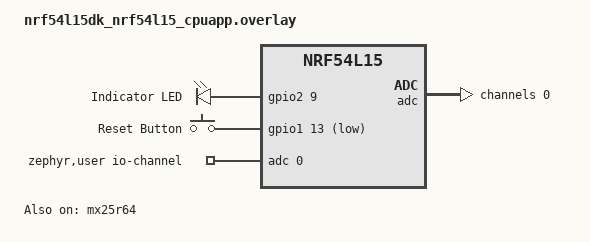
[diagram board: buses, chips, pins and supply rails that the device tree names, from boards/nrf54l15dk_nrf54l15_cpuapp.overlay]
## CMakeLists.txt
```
#
# Copyright (c) 2021 Nordic Semiconductor ASA
#
# SPDX-License-Identifier: LicenseRef-Nordic-5-Clause
#

cmake_minimum_required(VERSION 3.20.0)

find_package(Zephyr HINTS $ENV{ZEPHYR_BASE})

project(battery-test)

# Enable GNU STD support.
include(${ZEPHYR_CONNECTEDHOMEIP_MODULE_DIR}/config/nrfconnect/app/enable-gnu-std.cmake)

# NORDIC SDK APP START

include(cmake/source_common.cmake)
include(cmake/data_model.cmake)
include(cmake/zap_helpers.cmake)
ncs_get_zap_parent_dir(ZAP_PARENT_DIR)

target_include_directories(app PRIVATE
    src
    ${ZAP_PARENT_DIR}
)

target_sources(app PRIVATE
    src/app_task.cpp
    src/battery.cpp
    src/main.cpp
)

ncs_configure_data_model()
# NORDIC SDK APP END
```

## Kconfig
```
#
# Copyright (c) 2022 Nordic Semiconductor
#
# SPDX-License-Identifier: LicenseRef-Nordic-5-Clause
#
mainmenu "Matter Battery Measurement Test Application"

# Sample configuration used for Thread networking
if OPENTHREAD

choice OPENTHREAD_NORDIC_LIBRARY_CONFIGURATION
	default OPENTHREAD_NORDIC_LIBRARY_MTD
endchoice

choice OPENTHREAD_DEVICE_TYPE
	default OPENTHREAD_MTD
endchoice

endif # OPENTHREAD

source "${ZEPHYR_CONNECTEDHOMEIP_MODULE_DIR}/config/nrfconnect/chip-module/Kconfig.features"
source "${ZEPHYR_CONNECTEDHOMEIP_MODULE_DIR}/config/nrfconnect/chip-module/Kconfig.defaults"
source "${ZEPHYR_NRF_MODULE_DIR}/samples/matter/common/src/Kconfig"
source "Kconfig.zephyr"
```

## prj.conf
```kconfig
#
# Copyright (c) 2021 Nordic Semiconductor ASA
#
# SPDX-License-Identifier: LicenseRef-Nordic-5-Clause
#

# There is only one data model in this application, so the ZAP path lives here
# rather than in a variant conf file - no EXTRA_CONF_FILE is needed to build.
CONFIG_NCS_SAMPLE_MATTER_ZAP_FILE_PATH="${APPLICATION_CONFIG_DIR}/src/zap/template.zap"

# Enable CHIP
CONFIG_CHIP=y
CONFIG_CHIP_PROJECT_CONFIG="src/chip_project_config.h"

# 32768 == 0x8000 (example Product ID added temporaly,
# but it must be changed with proper PID from the list:
# https://github.com/project-chip/connectedhomeip/blob/482e6fd03196a6de45465a90003947ef4b86e0b1/docs/examples/discussion/PID_allocation_for_example_apps.md)
CONFIG_CHIP_DEVICE_PRODUCT_ID=32768
CONFIG_STD_CPP17=y

# Enable Matter pairing automatically on application start.
CONFIG_CHIP_ENABLE_PAIRING_AUTOSTART=y

# Enable Matter extended announcement and increase duration to 1 hour.
CONFIG_CHIP_BLE_EXT_ADVERTISING=y
CONFIG_CHIP_BLE_ADVERTISING_DURATION=60

# The custom board has a single LED and a single button wired directly, so the
# DK buttons/LEDs library is not used - see ConfigureGPIO() in app_task.cpp.
CONFIG_DK_LIBRARY=n

# Bluetooth Low Energy configuration
CONFIG_BT_DEVICE_NAME="BattTest"

# Other settings
CONFIG_THREAD_NAME=y
CONFIG_MPU_STACK_GUARD=y
CONFIG_RESET_ON_FATAL_ERROR=n
CONFIG_CHIP_LIB_SHELL=y
CONFIG_NCS_SAMPLE_MATTER_TEST_SHELL=y

# Disable NFC onboarding
CONFIG_CHIP_NFC_ONBOARDING_PAYLOAD=n

# Enable Factory Data feature
CONFIG_CHIP_FACTORY_DATA=y
CONFIG_CHIP_FACTORY_DATA_BUILD=y

CONFIG_GPIO=y
CONFIG_ADC=y

CONFIG_USE_SEGGER_RTT=y
CONFIG_LOG_MODE_MINIMAL=n
CONFIG_LOG_MODE_IMMEDIATE=y
CONFIG_LOG_BACKEND_RTT=y

CONFIG_CHIP_PERSISTENT_SUBSCRIPTIONS=n

CONFIG_CLOCK_CONTROL_NRF_K32SRC_XTAL=y
CONFIG_CLOCK_CONTROL_NRF_K32SRC_RC=n

CONFIG_BT_RX_STACK_SIZE=2048

CONFIG_OPENTHREAD_DEFAULT_TX_POWER=20

# Enabling low power
CONFIG_PM_DEVICE=y

# Switch Minimal Thread Device on
CONFIG_OPENTHREAD_NORDIC_LIBRARY_MTD=y
CONFIG_OPENTHREAD_MTD=y
CONFIG_OPENTHREAD_FTD=n

# Set Matter as Intermittant Connected Device. LIT selects CHIP_ICD_UAT_SUPPORT,
# which is what gates the UserActiveMode button handling in app_task.cpp.
CONFIG_CHIP_ENABLE_ICD_SUPPORT=y
CONFIG_CHIP_ICD_LIT_SUPPORT=y
CONFIG_CHIP_ICD_REPORT_ON_ACTIVE_MODE=y

# More power saving.
CONFIG_RAM_POWER_DOWN_LIBRARY=y
```

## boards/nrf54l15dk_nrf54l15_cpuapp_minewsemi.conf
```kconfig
#
# Copyright (c) 2024 Nordic Semiconductor ASA
#
# SPDX-License-Identifier: LicenseRef-Nordic-5-Clause
#

CONFIG_POWEROFF=y

CONFIG_NCS_SAMPLE_MATTER_WATCHDOG=n

# Enable LTO to decrease the flash usage.
CONFIG_LTO=y
CONFIG_ISR_TABLES_LOCAL_DECLARATION=y

# The ME54BS01 exposes no UART, and the overlay disables every UART instance,
# so the console moves to RTT.
CONFIG_SERIAL=n
CONFIG_UART_CONSOLE=n
CONFIG_RTT_CONSOLE=y

# No shell on this board. Its only backend would be RTT, which already carries
# the log - the two cannot share a channel - and the log is the bench readout.
CONFIG_SHELL=n
CONFIG_CHIP_LIB_SHELL=n
CONFIG_NCS_SAMPLE_MATTER_TEST_SHELL=n
```

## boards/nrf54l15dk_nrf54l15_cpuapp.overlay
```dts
/*
 * Copyright (c) 2024 Nordic Semiconductor ASA
 *
 * SPDX-License-Identifier: LicenseRef-Nordic-5-Clause
 */

/ {
	leds {
		compatible = "gpio-leds";
		led0: led_0 {
			gpios = <&gpio2 9 GPIO_ACTIVE_HIGH>;
			label = "Indicator LED";
		};
	};

	buttons {
		compatible = "gpio-keys";
		button0: button_0 {
			gpios = <&gpio1 13 (GPIO_PULL_UP | GPIO_ACTIVE_LOW)>;
			label = "Reset Button";
		};
	};

	aliases {
		indicator-led = &led0;
		reset-button = &button0;
	};

	chosen {
		nordic,pm-ext-flash = &mx25r64;
	};

	zephyr,user {
		io-channels = <&adc 0>;
	};
};

/* sense-edge-mask is what lets the P1.13 edge interrupt fire out of the low
 * power states. The minewsemi overlay has always had it; without it here the
 * button behaves differently on the DK than on the custom board.
 */
&gpio1 {
	status = "okay";
	sense-edge-mask = <0xffffffff>;
};

&adc {
	#address-cells = <1>;
	#size-cells = <0>;
	status = "okay";

	/* Supply voltage via the SAADC internal VDD input. On the DK this reads
	 * whatever the board's VDD selector is set to rather than a cell, which
	 * is what makes it useful for sweeping the thresholds on the bench.
	 *
	 * Internal reference is 900 mV, so gain 1/4 puts full scale at 3.6 V.
	 * nRF54L15 has no 1/6 gain, so ADC_GAIN_1_6 would fail with -EINVAL.
	 */
	channel@0 {
		reg = <0>;
		zephyr,gain = "ADC_GAIN_1_4";
		zephyr,reference = "ADC_REF_INTERNAL";
		zephyr,acquisition-time = <ADC_ACQ_TIME_DEFAULT>;
		zephyr,input-positive = <NRF_SAADC_VDD>;
		zephyr,resolution = <12>;
		zephyr,oversampling = <8>;
	};
};

// restore full RRAM and SRAM space - by default some parts are dedicated to FLRP
&cpuapp_rram {
	reg = <0x0 DT_SIZE_K(1524)>;
};

&cpuapp_sram {
	reg = <0x20000000 DT_SIZE_K(256)>;
	ranges = <0x0 0x20000000  0x40000>;
};

/* The DK keeps the MCUboot secondary slot in external flash, per
 * pm_static_nrf54l15dk_nrf54l15_cpuapp.yml.
 */
&mx25r64 {
	status = "okay";
};
```

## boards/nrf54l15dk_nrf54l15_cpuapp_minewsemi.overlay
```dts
/*
 * Copyright (c) 2024 Nordic Semiconductor ASA
 *
 * SPDX-License-Identifier: LicenseRef-Nordic-5-Clause
 */

/ {
	leds {
		compatible = "gpio-leds";
		led0: led_0 {
			gpios = <&gpio2 10 (GPIO_PULL_DOWN | GPIO_ACTIVE_HIGH)>;
			label = "Indicator LED";
		};
	};

	buttons {
		compatible = "gpio-keys";
		button0: button_0 {
			gpios = <&gpio1 13 (GPIO_PULL_DOWN | GPIO_ACTIVE_HIGH)>;
			label = "Reset Button";
		};
	};

	aliases {
		indicator-led = &led0;
		reset-button = &button0;
	};

	zephyr,user {
		io-channels = <&adc 0>;
	};
};

&gpio1 {
	status = "okay";
	sense-edge-mask = <0xffffffff>;
};

&adc {
	#address-cells = <1>;
	#size-cells = <0>;
	status = "okay";

	/* Battery voltage. The coin cell drives VDD directly - there is no LDO
	 * and no divider on this board - so the SAADC internal VDD input gives
	 * the cell voltage with no extra hardware and no quiescent draw.
	 *
	 * The nRF54L internal reference is 900 mV, so gain 1/4 puts full scale
	 * at 3.6 V. Note nRF54L15 has no 1/6 gain (only 2, 1, 2/3, 2/4, 2/5,
	 * 2/6, 2/7, 2/8), so ADC_GAIN_1_6 would fail channel setup with -EINVAL.
	 */
	channel@0 {
		reg = <0>;
		zephyr,gain = "ADC_GAIN_1_4";
		zephyr,reference = "ADC_REF_INTERNAL";
		zephyr,acquisition-time = <ADC_ACQ_TIME_DEFAULT>;
		zephyr,input-positive = <NRF_SAADC_VDD>;
		zephyr,resolution = <12>;
		zephyr,oversampling = <8>;
	};
};

// restore full RRAM and SRAM space - by default some parts are dedicated to FLRP
&cpuapp_rram {
	reg = <0x0 DT_SIZE_K(1524)>;
};

&cpuapp_sram {
	reg = <0x20000000 DT_SIZE_K(256)>;
	ranges = <0x0 0x20000000  0x40000>;
};

/* Disable unused communication peripherals */
&i2c20 {
	status = "disabled";
};

&i2c21 {
	status = "disabled";
};

&i2c22 {
	status = "disabled";
};

&spi20 {
	status = "disabled";
};

&spi21 {
	status = "disabled";
};

&spi22 {
	status = "disabled";
};

&uart20 {
	status = "disabled";
};

&uart21 {
	status = "disabled";
};

&uart22 {
	status = "disabled";
};

&uart30 {
	status = "disabled";
};

&mx25r64 {
	status = "disabled";
};

/* Disable audio/sensor peripherals if not used */
&pdm20 {
	status = "disabled";
};

&pdm21 {
	status = "disabled";
};

&i2s20 {
	status = "disabled";
};

/* Disable quadrature decoder if not used */
&qdec20 {
	status = "disabled";
};

&qdec21 {
	status = "disabled";
};

&pwm20 {
	status = "disabled";
};

&pwm21 {
	status = "disabled";
};

&pwm22 {
	status = "disabled";
};

&wdt31 {
	status = "disabled";
};

/* Disable NFC if not used */
&nfct {
	status = "disabled";
};
```

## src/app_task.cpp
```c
/*
 * Copyright (c) 2021 Nordic Semiconductor ASA
 *
 * SPDX-License-Identifier: LicenseRef-Nordic-5-Clause
 */

#include "app_task.h"

#include "app/matter_init.h"
#include "app/task_executor.h"
#include "lib/core/CHIPError.h"
#include "lib/support/CodeUtils.h"

#include <setup_payload/OnboardingCodesUtil.h>

#include <zephyr/logging/log.h>

#include <zephyr/device.h>
#include <zephyr/devicetree.h>
#include <zephyr/drivers/gpio.h>

#include "battery.h"

#include <app-common/zap-generated/attributes/Accessors.h>
#include <app-common/zap-generated/callback.h>
#include <app/clusters/identify-server/identify-server.h>
#include <app/clusters/power-source-server/power-source-server.h>

LOG_MODULE_DECLARE(app, CONFIG_CHIP_APP_LOG_LEVEL);

using namespace ::chip;
using namespace ::chip::app;
using namespace ::chip::DeviceLayer;

namespace
{
k_timer sIndicatorTimer;
k_timer sBatteryTimer;
k_timer sFactoryResetTimer;
bool sIndicatorState;

bool sIsNetworkProvisioned;
bool sIsBleConnected;

#define BATTERY_READ_INTERVAL 5000
#define FACTORY_RESET_HOLD_SECONDS 10

/* CR2032 operating window. The nRF54L15 itself runs well below 2.0 V, but a
 * coin cell's usable capacity is gone by then, so that is where 0% sits.
 */
constexpr uint16_t kMinOperatingVoltageMv = 2000;
constexpr uint16_t kMaxOperatingVoltageMv = 3000;
constexpr uint16_t kWarningVoltageMv = 2400;
constexpr uint16_t kCriticalVoltageMv = 2200;

/* Matter reports BatPercentRemaining in half-percent units, so 200 == 100%. */
constexpr uint8_t kMaxBatteryPercentage = 200;

constexpr EndpointId kPowerSourceEndpointId = 0;

#define INDICATOR_LED_NODE DT_ALIAS(indicator_led)
#define RESET_BUTTON_NODE DT_ALIAS(reset_button)

const struct gpio_dt_spec sIndicatorLed = GPIO_DT_SPEC_GET(INDICATOR_LED_NODE, gpios);
const struct gpio_dt_spec sResetButton = GPIO_DT_SPEC_GET(RESET_BUTTON_NODE, gpios);

Identify sIdentify = {kPowerSourceEndpointId, AppTask::IdentifyStartHandler,
		      AppTask::IdentifyStopHandler,
		      Clusters::Identify::IdentifyTypeEnum::kVisibleIndicator};
} /* namespace */

/// @brief This function is called when an identify start command is received. It will rapidly blink the indicator LED.
/// @param
void AppTask::IdentifyStartHandler(Identify *)
{
	k_timer_stop(&sIndicatorTimer);
	k_timer_start(&sIndicatorTimer, K_MSEC(500), K_MSEC(500));
}

/// @brief This function is called when an identify stop command is received. It will restore the connectivity indication.
/// @param
void AppTask::IdentifyStopHandler(Identify *)
{
	UpdateIndicatorLed();
}

/// @brief This callback is called when the battery timer expires. It will post a task to read the battery voltage.
/// @param timer
void AppTask::BatteryTimerCallback(k_timer *timer)
{
	Nrf::PostTask([] { AppTask::BatteryMeasureHandler(); });
}

void AppTask::IndicatorTimerCallback(k_timer *timer)
{
	sIndicatorState = !sIndicatorState;

	gpio_pin_set_dt(&sIndicatorLed, sIndicatorState);
}

void AppTask::FactoryResetTimerCallback(k_timer *timer)
{
	k_timer_stop(&sIndicatorTimer);
	gpio_pin_set_dt(&sIndicatorLed, 0);

	/* Timer callbacks run in interrupt context, so hand the reset itself to
	 * the app task.
	 */
	Nrf::PostTask([] {
		LOG_INF("Factory Reset Triggered!");
		chip::Server::GetInstance().ScheduleFactoryReset();
	});
}

void AppTask::UpdateIndicatorLed()
{
	k_timer_stop(&sIndicatorTimer);

	if (sIsNetworkProvisioned) {
		/* Provisioned and idle - the LED stays dark so the battery
		 * reading is not skewed by the LED current.
		 */
		gpio_pin_set_dt(&sIndicatorLed, 0);
	} else if (sIsBleConnected) {
		k_timer_start(&sIndicatorTimer, K_MSEC(200), K_MSEC(200));
	} else {
		k_timer_start(&sIndicatorTimer, K_MSEC(1000), K_MSEC(1000));
	}
}

void AppTask::MatterEventHandler(const ChipDeviceEvent *event, intptr_t data)
{
	switch (event->Type) {
	case DeviceEventType::kCHIPoBLEAdvertisingChange:
		sIsBleConnected = ConnectivityMgr().NumBLEConnections() != 0;
		break;
	case DeviceEventType::kThreadStateChange:
		sIsNetworkProvisioned = ConnectivityMgrImpl().IsIPv6NetworkProvisioned() &&
					ConnectivityMgrImpl().IsIPv6NetworkEnabled();
		break;
	default:
		break;
	}

	if (sIsNetworkProvisioned) {
		LOG_INF("Network is provisioned!");
	} else if (sIsBleConnected) {
		LOG_INF("Bluetooth connection opened");
	} else if (ConnectivityMgr().IsBLEAdvertising()) {
		LOG_INF("Bluetooth is advertising");
	} else {
		LOG_INF("Bluetooth is disconnected");
	}

	UpdateIndicatorLed();
}

CHIP_ERROR AppTask::Init()
{
	LOG_INF("Init()");

	ReturnErrorOnFailure(Nrf::Matter::PrepareServer());

	k_timer_init(&sIndicatorTimer, &IndicatorTimerCallback, nullptr);
	k_timer_user_data_set(&sIndicatorTimer, this);

	ReturnErrorOnFailure(Nrf::Matter::RegisterEventHandler(AppTask::MatterEventHandler, 0));

	ConfigureGPIO();

	if (BatteryMeasurementInit() < 0) {
		return CHIP_ERROR_INCORRECT_STATE;
	}

	/* Turn on the indicator LED to start with.
	 * Gives an indication that the device is alive!
	 */
	gpio_pin_set_dt(&sIndicatorLed, 1);

	k_sleep(K_SECONDS(1));

	gpio_pin_set_dt(&sIndicatorLed, 0);

	k_timer_init(&sBatteryTimer, &BatteryTimerCallback, nullptr);
	k_timer_user_data_set(&sBatteryTimer, this);

	k_timer_init(&sFactoryResetTimer, &FactoryResetTimerCallback, nullptr);
	k_timer_user_data_set(&sFactoryResetTimer, this);

	return Nrf::Matter::StartServer();
}

CHIP_ERROR AppTask::StartApp()
{
	ReturnErrorOnFailure(Init());

	/* Started here rather than in Init() so the first measurement cannot land
	 * before StartServer() has finished bringing the cluster up. Measuring
	 * from boot rather than from provisioning is what makes this useful on
	 * the bench - the readings do not wait for a controller.
	 */
	k_timer_start(&sBatteryTimer, K_MSEC(1000), K_MSEC(BATTERY_READ_INTERVAL));

	while (true) {
		Nrf::DispatchNextTask();
	}

	return CHIP_NO_ERROR;
}

void AppTask::ResetButtonCallback(const struct device *dev, struct gpio_callback *cb,
				  gpio_port_pins_t pins)
{
	/* The pin is configured from the devicetree flags alone, so a logical 1
	 * means pressed on both the active-high custom board and the active-low DK.
	 */
	if (gpio_pin_get_dt(&sResetButton) == 1) {
		LOG_INF("Reset Button Pushed");

		k_timer_stop(&sIndicatorTimer);
		gpio_pin_set_dt(&sIndicatorLed, 1);

#ifdef CONFIG_CHIP_ICD_UAT_SUPPORT
		/* This runs in the GPIO ISR, and taking the CHIP stack lock from
		 * an ISR is not allowed, so hand the notification to the app task.
		 */
		Nrf::PostTask([] {
			LOG_INF("ICD UserActiveMode is enabled. Moving to ActiveMode...");

			chip::DeviceLayer::PlatformMgr().LockChipStack();
			Server::GetInstance().GetICDManager().OnNetworkActivity();
			chip::DeviceLayer::PlatformMgr().UnlockChipStack();

			LOG_INF("Successfully triggered ICD UserActiveMode!");
		});
#endif

		k_timer_start(&sFactoryResetTimer, K_SECONDS(FACTORY_RESET_HOLD_SECONDS), K_NO_WAIT);
	} else {
		LOG_INF("Reset Button Released");

		k_timer_stop(&sFactoryResetTimer);
		UpdateIndicatorLed();
	}
}

void AppTask::ConfigureGPIO()
{
	if (!gpio_is_ready_dt(&sIndicatorLed)) {
		LOG_ERR("Cannot configure indicator LED");
		return;
	}

	int err = gpio_pin_configure_dt(&sIndicatorLed, GPIO_OUTPUT_INACTIVE);
	if (err != 0) {
		LOG_ERR("Configuring indicator pin failed (err: %d)", err);
		return;
	}

	LOG_INF("Successfully configured indicator LED");

	if (!gpio_is_ready_dt(&sResetButton)) {
		LOG_ERR("Reset button is not ready");
		return;
	}

	/* No polarity flags here - the pull and active level come from the
	 * devicetree, which differs between the DK and the custom board.
	 */
	err = gpio_pin_configure_dt(&sResetButton, GPIO_INPUT);

	if (err != 0) {
		LOG_ERR("Configuring reset button failed (err: %d)", err);
		return;
	}

	/* Both edges, so that the release is seen and the factory reset timer
	 * can be cancelled.
	 */
	err = gpio_pin_interrupt_configure_dt(&sResetButton, GPIO_INT_EDGE_BOTH);

	if (err != 0) {
		LOG_ERR("Configuring reset button interrupt failed (err: %d)", err);
		return;
	}

	static struct gpio_callback reset_button_cb_data;

	gpio_init_callback(&reset_button_cb_data, AppTask::ResetButtonCallback, BIT(sResetButton.pin));

	err = gpio_add_callback(sResetButton.port, &reset_button_cb_data);

	if (err != 0) {
		LOG_ERR("Adding callback to reset button failed (err: %d)", err);
		return;
	}

	LOG_INF("Successfully configured reset button");
}

void AppTask::BatteryMeasureHandler()
{
	int32_t voltageMv = BatteryMeasurementReadVoltageMv();

	if (voltageMv < 0) {
		LOG_ERR("Battery measurement failed (%" PRId32 ")", voltageMv);

		Clusters::PowerSource::Attributes::Status::Set(
			kPowerSourceEndpointId,
			Clusters::PowerSource::PowerSourceStatusEnum::kUnavailable);
		Clusters::PowerSource::Attributes::BatPresent::Set(kPowerSourceEndpointId, false);
		return;
	}

	uint8_t percentage;

	if (voltageMv <= kMinOperatingVoltageMv) {
		percentage = 0;
	} else if (voltageMv >= kMaxOperatingVoltageMv) {
		percentage = kMaxBatteryPercentage;
	} else {
		percentage = static_cast<uint8_t>(kMaxBatteryPercentage *
						  (voltageMv - kMinOperatingVoltageMv) /
						  (kMaxOperatingVoltageMv - kMinOperatingVoltageMv));
	}

	Clusters::PowerSource::BatChargeLevelEnum chargeLevel;

	if (voltageMv < kCriticalVoltageMv) {
		chargeLevel = Clusters::PowerSource::BatChargeLevelEnum::kCritical;
	} else if (voltageMv < kWarningVoltageMv) {
		chargeLevel = Clusters::PowerSource::BatChargeLevelEnum::kWarning;
	} else {
		chargeLevel = Clusters::PowerSource::BatChargeLevelEnum::kOk;
	}

	LOG_INF("Battery: %" PRId32 " mV, %u%% (level %u)", voltageMv, percentage / 2,
		static_cast<uint8_t>(chargeLevel));

	Protocols::InteractionModel::Status status;

	status = Clusters::PowerSource::Attributes::Status::Set(
		kPowerSourceEndpointId, Clusters::PowerSource::PowerSourceStatusEnum::kActive);
	if (status != Protocols::InteractionModel::Status::Success) {
		LOG_ERR("Updating PowerSource Status failed %x", to_underlying(status));
	}

	status = Clusters::PowerSource::Attributes::BatPresent::Set(kPowerSourceEndpointId, true);
	if (status != Protocols::InteractionModel::Status::Success) {
		LOG_ERR("Updating PowerSource BatPresent failed %x", to_underlying(status));
	}

	status = Clusters::PowerSource::Attributes::BatVoltage::Set(kPowerSourceEndpointId,
								   static_cast<uint32_t>(voltageMv));
	if (status != Protocols::InteractionModel::Status::Success) {
		LOG_ERR("Updating PowerSource BatVoltage failed %x", to_underlying(status));
	}

	status = Clusters::PowerSource::Attributes::BatPercentRemaining::Set(kPowerSourceEndpointId,
									    percentage);
	if (status != Protocols::InteractionModel::Status::Success) {
		LOG_ERR("Updating PowerSource BatPercentRemaining failed %x", to_underlying(status));
	}

	status = Clusters::PowerSource::Attributes::BatChargeLevel::Set(kPowerSourceEndpointId,
								       chargeLevel);
	if (status != Protocols::InteractionModel::Status::Success) {
		LOG_ERR("Updating PowerSource BatChargeLevel failed %x", to_underlying(status));
	}
}

/// @brief Customises the PowerSource cluster.
/// @param endpoint
void emberAfPowerSourceClusterInitCallback(chip::EndpointId endpoint)
{
	LOG_INF("emberAfPowerSourceClusterServerInitCallback()");

	Clusters::PowerSource::Attributes::Status::Set(
		endpoint, Clusters::PowerSource::PowerSourceStatusEnum::kActive);

	Clusters::PowerSource::Attributes::Order::Set(endpoint, 0);

	Clusters::PowerSource::Attributes::Description::Set(endpoint,
							   chip::CharSpan::fromCharString("Battery"));

	Clusters::PowerSource::Attributes::BatChargeLevel::Set(
		endpoint, Clusters::PowerSource::BatChargeLevelEnum::kOk);
	Clusters::PowerSource::Attributes::BatReplacementNeeded::Set(endpoint, false);
	Clusters::PowerSource::Attributes::BatReplaceability::Set(
		endpoint, Clusters::PowerSource::BatReplaceabilityEnum::kUserReplaceable);
}
```

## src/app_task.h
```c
/*
 * Copyright (c) 2021 Nordic Semiconductor ASA
 *
 * SPDX-License-Identifier: LicenseRef-Nordic-5-Clause
 */

#pragma once

#include <platform/CHIPDeviceLayer.h>

#include <zephyr/drivers/gpio.h>

using namespace ::chip::DeviceLayer;

struct Identify;

class AppTask
{
public:
	static AppTask &Instance()
	{
		static AppTask sAppTask;
		return sAppTask;
	};

	CHIP_ERROR StartApp();

	static void IdentifyStartHandler(Identify *);
	static void IdentifyStopHandler(Identify *);

private:
	CHIP_ERROR Init();

	static void MatterEventHandler(const ChipDeviceEvent *event, intptr_t data);
	static void BatteryMeasureHandler();
	static void BatteryTimerCallback(k_timer *timer);
	static void IndicatorTimerCallback(k_timer *timer);
	static void FactoryResetTimerCallback(k_timer *timer);

	/// @brief Drives the indicator LED to match the current connectivity state.
	/// Used both by the Matter event handler and to restore the LED after the
	/// button is released.
	static void UpdateIndicatorLed();

	static void ResetButtonCallback(const struct device *dev, struct gpio_callback *cb,
					gpio_port_pins_t pins);

	void ConfigureGPIO();
};
```

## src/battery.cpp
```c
/*
 * Copyright (c) 2024 Nordic Semiconductor ASA
 *
 * SPDX-License-Identifier: LicenseRef-Nordic-5-Clause
 */

#include "battery.h"

#include <zephyr/device.h>
#include <zephyr/devicetree.h>
#include <zephyr/drivers/adc.h>
#include <zephyr/logging/log.h>

LOG_MODULE_DECLARE(app, CONFIG_CHIP_APP_LOG_LEVEL);

#if !DT_NODE_EXISTS(DT_PATH(zephyr_user)) || !DT_NODE_HAS_PROP(DT_PATH(zephyr_user), io_channels)
#error "No suitable devicetree overlay specified"
#endif

namespace
{
const struct adc_dt_spec sAdc = ADC_DT_SPEC_GET_BY_IDX(DT_PATH(zephyr_user), 0);

uint16_t sAdcBuffer;

struct adc_sequence sAdcSequence = {
	.buffer = &sAdcBuffer,
	.buffer_size = sizeof(sAdcBuffer),
	.calibrate = true,
};
} /* namespace */

int BatteryMeasurementInit()
{
	if (!device_is_ready(sAdc.dev)) {
		LOG_ERR("ADC controller device not ready");
		return -ENODEV;
	}

	int err = adc_channel_setup_dt(&sAdc);

	if (err < 0) {
		LOG_ERR("Could not setup the battery ADC channel (%d)", err);
		return err;
	}

	LOG_INF("Battery measurement initialised");

	return 0;
}

int32_t BatteryMeasurementReadVoltageMv()
{
	int err = adc_sequence_init_dt(&sAdc, &sAdcSequence);

	if (err < 0) {
		LOG_ERR("Could not initialise the battery ADC sequence (%d)", err);
		return err;
	}

	err = adc_read_dt(&sAdc, &sAdcSequence);

	if (err < 0) {
		LOG_ERR("Could not read the battery ADC (%d)", err);
		return err;
	}

	int32_t voltageMv = static_cast<int32_t>(sAdcBuffer);

	err = adc_raw_to_millivolts_dt(&sAdc, &voltageMv);

	if (err < 0) {
		LOG_ERR("Battery value in mV not available (%d)", err);
		return err;
	}

	return voltageMv;
}
```
